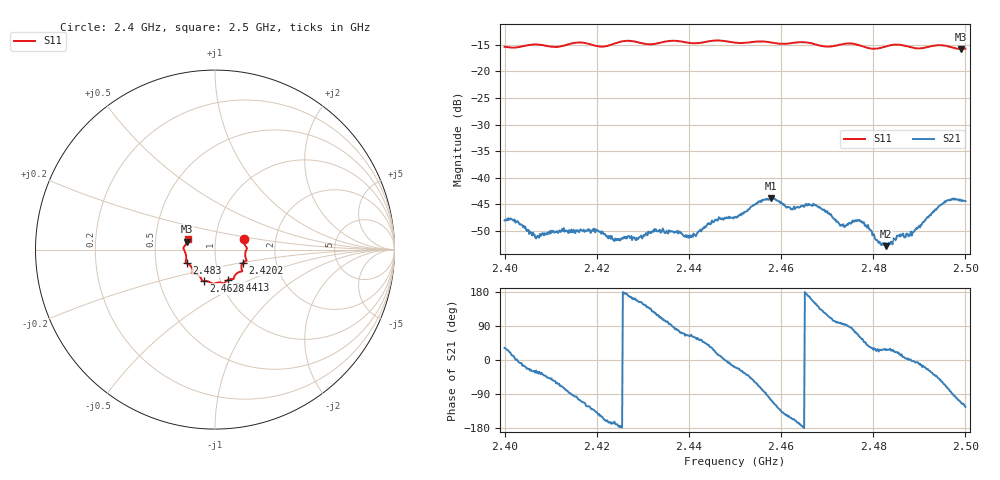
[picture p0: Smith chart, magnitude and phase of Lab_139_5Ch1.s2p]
# Hz S RI R 50
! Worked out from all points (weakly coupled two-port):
!   601 points, 2.4 GHz to 2.5 GHz, reference 50 ohm
!   highest |S21| = -43.77 dB at 2.4578 GHz (marker M1); lowest = -52.8 dB at 2.4827 GHz (marker M2)
!   lowest |S11| = -15.8 dB at 2.499 GHz (marker M3), VSWR 1.39, Z = 36.4 + j3.37 ohm
!   |S11| at or under -10 dB: start of sweep to end of sweep
!   S12 and S22 are empty: the file has one direction only
!   S11 on the Smith chart (normalised r, x): 2.4 GHz: 1.37, +0.16; 2.4202 GHz: 1.35, -0.20; 2.4413 GHz: 1.09, -0.38; 2.4628 GHz: 0.83, -0.30; 2.483 GHz: 0.72, -0.11; 2.5 GHz: 0.73, +0.09
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2.4e9  0.1604 0.057  0.00338 0.00211  0 0  0 0
2.402667e9  0.1657 0.0286  0.00391 9.64e-05  0 0  0 0
2.407e9  0.1786 0.0076  0.00232 -0.00155  0 0  0 0
2.416667e9  0.1761 -0.0616  -0.00105 -0.00304  0 0  0 0
2.420167e9  0.1561 -0.0726  -0.00246 -0.00202  0 0  0 0
2.424667e9  0.1498 -0.1129  -0.00261 -0.000231  0 0  0 0
2.433333e9  0.1081 -0.1485  -0.00151 0.00278  0 0  0 0
2.441333e9  0.0742 -0.1679  0.00147 0.00252  0 0  0 0
2.446167e9  0.0496 -0.1888  0.00382 0.00106  0 0  0 0
2.45e9  0.0292 -0.1838  0.00407 -0.00142  0 0  0 0
2.457833e9  -0.0214 -0.1855  -0.0018 -0.00622  0 0  0 0
2.462833e9  -0.0631 -0.1747  -0.00495 -0.00212  0 0  0 0
2.466667e9  -0.0743 -0.1675  -0.0051 0.002  0 0  0 0
2.473333e9  -0.12 -0.1344  -0.000364 0.00359  0 0  0 0
2.4775e9  -0.1242 -0.1207  0.00221 0.00315  0 0  0 0
2.482667e9  -0.1526 -0.0779  0.00204 0.00101  0 0  0 0
2.483e9  -0.155 -0.0767  0.00209 0.00107  0 0  0 0
2.483333e9  -0.1572 -0.0756  0.00219 0.00112  0 0  0 0
2.488167e9  -0.1605 -0.0504  0.00313 3.6e-05  0 0  0 0
2.495833e9  -0.1727 0.015  0.00212 -0.00569  0 0  0 0
2.499e9  -0.1557 0.0451  -0.00226 -0.00572  0 0  0 0
2.5e9  -0.1525 0.0587  -0.00334 -0.00503  0 0  0 0
